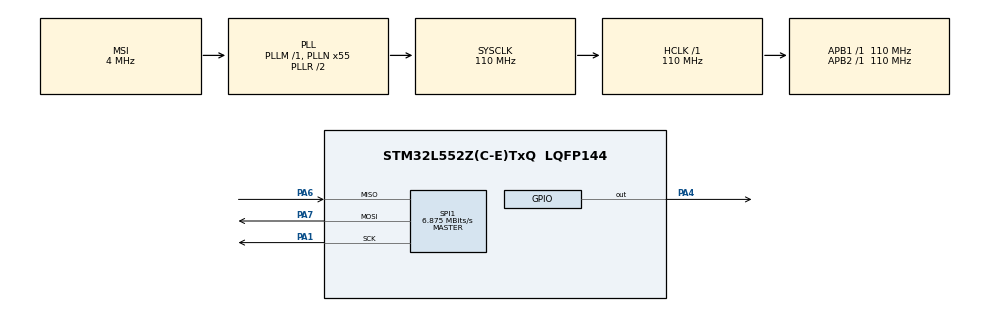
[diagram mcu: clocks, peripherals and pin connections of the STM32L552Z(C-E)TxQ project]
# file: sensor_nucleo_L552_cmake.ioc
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Mcu.Family=STM32L5
Mcu.Name=STM32L552Z(C-E)TxQ
Mcu.Package=LQFP144
Mcu.TrustZone=disable
NUCLEO-L552ZE-Q.BUTTON=1
NUCLEO-L552ZE-Q.LD1=true
NUCLEO-L552ZE-Q.LD2=true
NUCLEO-L552ZE-Q.LD3=true
NUCLEO-L552ZE-Q.VCP=true
NVIC.EXTI13_IRQn=true\:0\:0\:false\:false\:true\:false\:true\:true
NVIC.PriorityGroup=NVIC_PRIORITYGROUP_3
PA1.Mode=Full_Duplex_Master
PA1.Signal=SPI1_SCK
PA13\ (JTMS/SWDIO).Signal=DEBUG_JTMS-SWDIO
PA14\ (JTCK/SWCLK).Signal=DEBUG_JTCK-SWCLK
PA4.Signal=GPIO_Output
PA6.Mode=Full_Duplex_Master
PA6.Signal=SPI1_MISO
PA7.Mode=Full_Duplex_Master
PA7.Signal=SPI1_MOSI
PB3\ (JTDO/TRACESWO).Signal=DEBUG_JTDO-SWO
PC14-OSC32_IN\ (PC14).Signal=RCC_OSC32_IN
PC15-OSC32_OUT\ (PC15).Signal=RCC_OSC32_OUT
PG7.Signal=LPUART1_TX
PG8.Signal=LPUART1_RX
ProjectManager.HeapSize=0x200
ProjectManager.StackSize=0x400
ProjectManager.TargetToolchain=CMake
RCC.ADCCLockSelection=RCC_ADCCLKSOURCE_SYSCLK
RCC.ADCFreq_Value=110000000
RCC.AHBFreq_Value=110000000
RCC.APB1Freq_Value=110000000
RCC.APB1TimFreq_Value=110000000
RCC.APB2Freq_Value=110000000
RCC.APB2TimFreq_Value=110000000
RCC.CK48CLockSelection=RCC_USBCLKSOURCE_HSI48
RCC.CortexFreq_Value=110000000
RCC.HCLKFreq_Value=110000000
RCC.HSE_VALUE=8000000
RCC.HSI48_VALUE=48000000
RCC.HSI_VALUE=16000000
RCC.LSE_VALUE=32768
RCC.MSI_VALUE=4000000
RCC.PLLN=55
RCC.PLLSAI1N=24
RCC.RTCClockSelection=RCC_RTCCLKSOURCE_LSE
RCC.SYSCLKFreq_VALUE=110000000
RCC.SYSCLKSource=RCC_SYSCLKSOURCE_PLLCLK
RCC.USBFreq_Value=48000000
RCC.VCOOutputFreq_Value=220000000
SPI1.BaudRatePrescaler=SPI_BAUDRATEPRESCALER_16
SPI1.CalculateBaudRate=6.875 MBits/s
SPI1.DataSize=SPI_DATASIZE_8BIT
SPI1.Direction=SPI_DIRECTION_2LINES
SPI1.Mode=SPI_MODE_MASTER
SPI1.VirtualType=VM_MASTER
VP_ICACHE_VS_ICACHE.Mode=DirectMappedCache
VP_NUCLEO-L552ZE-Q_VS_BSP_COMMON.Mode=COMMON
VP_PWR_VS_DBSignals.Mode=DisableDeadBatterySignals
VP_PWR_VS_SECSignals.Mode=Security/Privilege
board=NUCLEO-L552ZE-Q

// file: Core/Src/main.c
/* USER CODE BEGIN Header */
/**
  ******************************************************************************
  * @file           : main.c
  * @brief          : Main program body
  ******************************************************************************
  * @attention
  *
  * Copyright (c) 2026 STMicroelectronics.
  * All rights reserved.
  *
  * This software is licensed under terms that can be found in the LICENSE file
  * in the root directory of this software component.
  * If no LICENSE file comes with this software, it is provided AS-IS.
  *
  ******************************************************************************
  */
/* USER CODE END Header */
#include "main.h"

/* USER CODE BEGIN Includes */

#include "lsm6dsv320x_reg.h"
#include <string.h>
/* USER CODE END Includes */

COM_InitTypeDef BspCOMInit;

SPI_HandleTypeDef hspi1;

void SystemClock_Config(void);
static void MX_GPIO_Init(void);
static void MX_ICACHE_Init(void);
static void MX_SPI1_Init(void);

/* USER CODE BEGIN 0 */
static int32_t platform_write(void *handle, uint8_t reg, const uint8_t *bufp, uint16_t len)
{
  HAL_GPIO_WritePin(CS_GPIO_PORT, CS_PIN, GPIO_PIN_RESET);
  HAL_SPI_Transmit((SPI_HandleTypeDef*)handle, &reg, 1, 1000);
  HAL_SPI_Transmit((SPI_HandleTypeDef*)handle, (uint8_t*)bufp, len, 1000);
  HAL_GPIO_WritePin(CS_GPIO_PORT, CS_PIN, GPIO_PIN_SET);
  return 0;
}

static int32_t platform_read(void *handle, uint8_t reg, uint8_t *bufp, uint16_t len)
{
  reg |= 0x80; /* Read bit for LSM6DSV320X SPI */
  HAL_GPIO_WritePin(CS_GPIO_PORT, CS_PIN, GPIO_PIN_RESET);
  HAL_SPI_Transmit((SPI_HandleTypeDef*)handle, &reg, 1, 1000);
  HAL_SPI_Receive((SPI_HandleTypeDef*)handle, bufp, len, 1000);
  HAL_GPIO_WritePin(CS_GPIO_PORT, CS_PIN, GPIO_PIN_SET);
  return 0;
}
/* USER CODE END 0 */

int main(void)
{

  /* MCU Configuration--------------------------------------------------------*/

  /* Reset of all peripherals, Initializes the Flash interface and the Systick. */
  HAL_Init();

  /* Configure the system clock */
  SystemClock_Config();

  /* Initialize all configured peripherals */
  MX_GPIO_Init();
  MX_ICACHE_Init();
  MX_SPI1_Init();

  /* Initialize leds */
  BSP_LED_Init(LED_GREEN);
  BSP_LED_Init(LED_BLUE);
  BSP_LED_Init(LED_RED);

  /* Initialize USER push-button, will be used to trigger an interrupt each time it's pressed.*/
  BSP_PB_Init(BUTTON_USER, BUTTON_MODE_EXTI);

  /* Initialize COM1 port (115200, 8 bits (7-bit data + 1 stop bit), no parity */
  BspCOMInit.BaudRate   = 115200;
  BspCOMInit.WordLength = COM_WORDLENGTH_8B;
  BspCOMInit.StopBits   = COM_STOPBITS_1;
  BspCOMInit.Parity     = COM_PARITY_NONE;
  BspCOMInit.HwFlowCtl  = COM_HWCONTROL_NONE;
  if (BSP_COM_Init(COM1, &BspCOMInit) != BSP_ERROR_NONE)
  {
    Error_Handler();
  }

  /* Infinite loop */
  /* USER CODE BEGIN WHILE */
  /* Initialize COM1 port (115200, 8 bits (7-bit data + 1 stop bit), no parity */
  BspCOMInit.BaudRate   = 115200;
  BspCOMInit.WordLength = COM_WORDLENGTH_8B;
  BspCOMInit.StopBits   = COM_STOPBITS_1;
  BspCOMInit.Parity     = COM_PARITY_NONE;
  BspCOMInit.HwFlowCtl  = COM_HWCONTROL_NONE;
  if (BSP_COM_Init(COM1, &BspCOMInit) != BSP_ERROR_NONE)
  {
    Error_Handler();
  }
  stmdev_ctx_t dev_ctx;
  uint8_t whoamI;

  dev_ctx.write_reg = platform_write;
  dev_ctx.read_reg = platform_read;
  dev_ctx.mdelay = (void (*)(uint32_t))HAL_Delay;
  dev_ctx.handle = &hspi1;

  HAL_GPIO_WritePin(CS_GPIO_PORT, CS_PIN, GPIO_PIN_RESET);

  /* Wait sensor boot time */
  HAL_Delay(100);
/* Explicitly configure 4-wire SPI mode (SIM = 0 in IF_CFG register 0x03) */
    lsm6dsv320x_spi_mode_set(&dev_ctx, LSM6DSV320X_SPI_4_WIRE);
  /* Check device ID */
  lsm6dsv320x_device_id_get(&dev_ctx, &whoamI);
  if (whoamI != LSM6DSV320X_ID) {
    printf("LSM6DSV320X not found! WHO_AM_I = 0x%02X (expected 0x%02X)\r\n", whoamI, LSM6DSV320X_ID);
    printf("Please verify SPI wiring and that CS is connected to PA4.\r\n");
  } else {
    printf("LSM6DSV320X Found! WHO_AM_I = 0x%02X\r\n", whoamI);

    /* Perform device power-on-reset */
    lsm6dsv320x_sw_por(&dev_ctx);
    HAL_Delay(15);

    /* Enable Block Data Update */
    lsm6dsv320x_block_data_update_set(&dev_ctx, PROPERTY_ENABLE);

    /* Set Output Data Rate */
    lsm6dsv320x_xl_data_rate_set(&dev_ctx, LSM6DSV320X_ODR_AT_15Hz);

    /* Set full scale */
    lsm6dsv320x_xl_full_scale_set(&dev_ctx, LSM6DSV320X_2g);

    printf("LSM6DSV320X Accelerometer initialized successfully.\r\n");
  }
  while (1)
  {

    /* USER CODE END WHILE */

    /* USER CODE BEGIN 3 */
    lsm6dsv320x_data_ready_t drdy;
    lsm6dsv320x_flag_data_ready_get(&dev_ctx, &drdy);

    if (drdy.drdy_xl) {
      int16_t data_raw_acceleration[3];
      float acceleration_mg[3];
      memset(data_raw_acceleration, 0x00, 3 * sizeof(int16_t));
      lsm6dsv320x_acceleration_raw_get(&dev_ctx, data_raw_acceleration);
      acceleration_mg[0] = lsm6dsv320x_from_fs2_to_mg(data_raw_acceleration[0]);
      acceleration_mg[1] = lsm6dsv320x_from_fs2_to_mg(data_raw_acceleration[1]);
      acceleration_mg[2] = lsm6dsv320x_from_fs2_to_mg(data_raw_acceleration[2]);

      printf("Acceleration [mg]: X=%0.2f\tY=%0.2f\tZ=%0.2f\r\n",
             acceleration_mg[0], acceleration_mg[1], acceleration_mg[2]);
      BSP_LED_Toggle(LED_GREEN);
      HAL_Delay(100);
    } else {
      HAL_Delay(10);
    }
  }
  /* USER CODE END 3 */
}

void SystemClock_Config(void)
{
  RCC_OscInitTypeDef RCC_OscInitStruct = {0};
  RCC_ClkInitTypeDef RCC_ClkInitStruct = {0};

  /** Configure the main internal regulator output voltage
  */
  if (HAL_PWREx_ControlVoltageScaling(PWR_REGULATOR_VOLTAGE_SCALE0) != HAL_OK)
  {
    Error_Handler();
  }

  /** Initializes the RCC Oscillators according to the specified parameters
  * in the RCC_OscInitTypeDef structure.
  */
  RCC_OscInitStruct.OscillatorType = RCC_OSCILLATORTYPE_MSI;
  RCC_OscInitStruct.MSIState = RCC_MSI_ON;
  RCC_OscInitStruct.MSICalibrationValue = RCC_MSICALIBRATION_DEFAULT;
  RCC_OscInitStruct.MSIClockRange = RCC_MSIRANGE_6;
  RCC_OscInitStruct.PLL.PLLState = RCC_PLL_ON;
  RCC_OscInitStruct.PLL.PLLSource = RCC_PLLSOURCE_MSI;
  RCC_OscInitStruct.PLL.PLLM = 1;
  RCC_OscInitStruct.PLL.PLLN = 55;
  RCC_OscInitStruct.PLL.PLLP = RCC_PLLP_DIV7;
  RCC_OscInitStruct.PLL.PLLQ = RCC_PLLQ_DIV2;
  RCC_OscInitStruct.PLL.PLLR = RCC_PLLR_DIV2;
  if (HAL_RCC_OscConfig(&RCC_OscInitStruct) != HAL_OK)
  {
    Error_Handler();
  }

  /** Initializes the CPU, AHB and APB buses clocks
  */
  RCC_ClkInitStruct.ClockType = RCC_CLOCKTYPE_HCLK|RCC_CLOCKTYPE_SYSCLK
                              |RCC_CLOCKTYPE_PCLK1|RCC_CLOCKTYPE_PCLK2;
  RCC_ClkInitStruct.SYSCLKSource = RCC_SYSCLKSOURCE_PLLCLK;
  RCC_ClkInitStruct.AHBCLKDivider = RCC_SYSCLK_DIV1;
  RCC_ClkInitStruct.APB1CLKDivider = RCC_HCLK_DIV1;
  RCC_ClkInitStruct.APB2CLKDivider = RCC_HCLK_DIV1;

  if (HAL_RCC_ClockConfig(&RCC_ClkInitStruct, FLASH_LATENCY_5) != HAL_OK)
  {
    Error_Handler();
  }
}

static void MX_ICACHE_Init(void)
{

  /** Enable instruction cache in 1-way (direct mapped cache)
  */
  if (HAL_ICACHE_ConfigAssociativityMode(ICACHE_1WAY) != HAL_OK)
  {
    Error_Handler();
  }
  if (HAL_ICACHE_Enable() != HAL_OK)
  {
    Error_Handler();
  }

}

static void MX_SPI1_Init(void)
{

  /* SPI1 parameter configuration*/
  hspi1.Instance = SPI1;
  hspi1.Init.Mode = SPI_MODE_MASTER;
  hspi1.Init.Direction = SPI_DIRECTION_2LINES;
  hspi1.Init.DataSize = SPI_DATASIZE_8BIT;
  hspi1.Init.CLKPolarity = SPI_POLARITY_LOW;
  hspi1.Init.CLKPhase = SPI_PHASE_1EDGE;
  hspi1.Init.NSS = SPI_NSS_SOFT;
  hspi1.Init.BaudRatePrescaler = SPI_BAUDRATEPRESCALER_16;
  hspi1.Init.FirstBit = SPI_FIRSTBIT_MSB;
  hspi1.Init.TIMode = SPI_TIMODE_DISABLE;
  hspi1.Init.CRCCalculation = SPI_CRCCALCULATION_DISABLE;
  hspi1.Init.CRCPolynomial = 7;
  hspi1.Init.CRCLength = SPI_CRC_LENGTH_DATASIZE;
  hspi1.Init.NSSPMode = SPI_NSS_PULSE_ENABLE;
  if (HAL_SPI_Init(&hspi1) != HAL_OK)
  {
    Error_Handler();
  }

}

static void MX_GPIO_Init(void)
{
  GPIO_InitTypeDef GPIO_InitStruct = {0};

  /* GPIO Ports Clock Enable */
  __HAL_RCC_GPIOC_CLK_ENABLE();
  __HAL_RCC_GPIOA_CLK_ENABLE();
  __HAL_RCC_GPIOB_CLK_ENABLE();

  /*Configure GPIO pin Output Level */
  HAL_GPIO_WritePin(GPIOA, GPIO_PIN_4, GPIO_PIN_RESET);

  /*Configure GPIO pin : PA4 */
  GPIO_InitStruct.Pin = GPIO_PIN_4;
  GPIO_InitStruct.Mode = GPIO_MODE_OUTPUT_PP;
  GPIO_InitStruct.Pull = GPIO_NOPULL;
  GPIO_InitStruct.Speed = GPIO_SPEED_FREQ_LOW;
  HAL_GPIO_Init(GPIOA, &GPIO_InitStruct);

  /* USER CODE BEGIN MX_GPIO_Init_2 */

  /* USER CODE BEGIN MX_GPIO_Init_2 */
  /* Ensure CS (PA4) is HIGH (deselected) initially */
  HAL_GPIO_WritePin(CS_GPIO_PORT, CS_PIN, GPIO_PIN_RESET);
  /* USER CODE END MX_GPIO_Init_2 */
}

void Error_Handler(void)
{
  __disable_irq();
  while (1)
  {
  }
}
